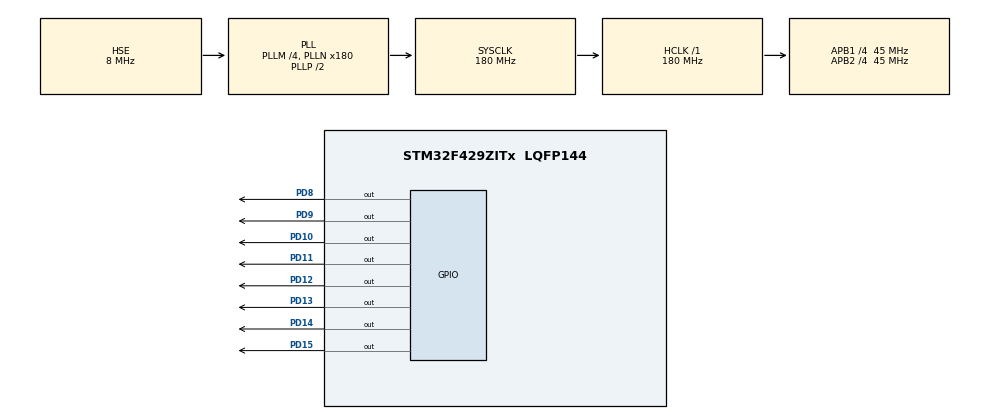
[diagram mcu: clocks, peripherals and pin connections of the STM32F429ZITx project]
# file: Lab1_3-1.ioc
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Mcu.Family=STM32F4
Mcu.Name=STM32F429ZITx
Mcu.Package=LQFP144
NVIC.PriorityGroup=NVIC_PRIORITYGROUP_4
NVIC.TIM6_DAC_IRQn=true\:0\:0\:false\:false\:true\:true\:true\:true
PD10.Signal=GPIO_Output
PD11.Signal=GPIO_Output
PD12.Signal=GPIO_Output
PD13.Signal=GPIO_Output
PD14.Signal=GPIO_Output
PD15.Signal=GPIO_Output
PD8.Signal=GPIO_Output
PD9.Signal=GPIO_Output
PH0/OSC_IN.Mode=HSE-External-Oscillator
PH0/OSC_IN.Signal=RCC_OSC_IN
PH1/OSC_OUT.Mode=HSE-External-Oscillator
PH1/OSC_OUT.Signal=RCC_OSC_OUT
ProjectManager.HeapSize=0x200
ProjectManager.StackSize=0x400
ProjectManager.TargetToolchain=STM32CubeIDE
RCC.48MHZClocksFreq_Value=90000000
RCC.AHBFreq_Value=180000000
RCC.APB1CLKDivider=RCC_HCLK_DIV4
RCC.APB1Freq_Value=45000000
RCC.APB1TimFreq_Value=90000000
RCC.APB2CLKDivider=RCC_HCLK_DIV4
RCC.APB2Freq_Value=45000000
RCC.APB2TimFreq_Value=90000000
RCC.CortexFreq_Value=180000000
RCC.HCLKFreq_Value=180000000
RCC.HSE_VALUE=8000000
RCC.HSI_VALUE=16000000
RCC.LSE_VALUE=32768
RCC.PLLM=4
RCC.PLLN=180
RCC.PLLSourceVirtual=RCC_PLLSOURCE_HSE
RCC.SYSCLKFreq_VALUE=180000000
RCC.SYSCLKSource=RCC_SYSCLKSOURCE_PLLCLK
RCC.VCOOutputFreq_Value=360000000
TIM6.Period=99
TIM6.Prescaler=89
VP_TIM6_VS_ClockSourceINT.Mode=Enable_Timer
board=custom

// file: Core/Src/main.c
/* USER CODE BEGIN Header */
/**
  ******************************************************************************
  * @file           : main.c
  * @brief          : Main program body
  ******************************************************************************
  * @attention
  *
  * Copyright (c) 2026 STMicroelectronics.
  * All rights reserved.
  *
  * This software is licensed under terms that can be found in the LICENSE file
  * in the root directory of this software component.
  * If no LICENSE file comes with this software, it is provided AS-IS.
  *
  ******************************************************************************
  */
/* USER CODE END Header */
#include "main.h"

TIM_HandleTypeDef htim6;

/* USER CODE BEGIN PV */
int TIM6_Count;
unsigned char LED_Value;
int count;
int mode;
/* USER CODE END PV */

void SystemClock_Config(void);
static void MX_GPIO_Init(void);
static void MX_TIM6_Init(void);

/* USER CODE BEGIN 0 */
void DisplayLEDsRunningSpotL(int mode)
{
	if (mode == 1)
	{
		LED_Value = (LED_Value >> 1) | (LED_Value << 7);
	}
	if (LED_Value & 0x80)
		HAL_GPIO_WritePin(GPIOD, GPIO_PIN_15, GPIO_PIN_SET);
	else
		HAL_GPIO_WritePin(GPIOD, GPIO_PIN_15, GPIO_PIN_RESET);
	if (LED_Value & 0x40)
		HAL_GPIO_WritePin(GPIOD, GPIO_PIN_14, GPIO_PIN_SET);
	else
		HAL_GPIO_WritePin(GPIOD, GPIO_PIN_14, GPIO_PIN_RESET);
	if (LED_Value & 0x20)
		HAL_GPIO_WritePin(GPIOD, GPIO_PIN_13, GPIO_PIN_SET);
	else
		HAL_GPIO_WritePin(GPIOD, GPIO_PIN_13, GPIO_PIN_RESET);
	if (LED_Value & 0x10)
		HAL_GPIO_WritePin(GPIOD, GPIO_PIN_12, GPIO_PIN_SET);
	else
		HAL_GPIO_WritePin(GPIOD, GPIO_PIN_12, GPIO_PIN_RESET);
	if (LED_Value & 0x8)
		HAL_GPIO_WritePin(GPIOD, GPIO_PIN_11, GPIO_PIN_SET);
	else
		HAL_GPIO_WritePin(GPIOD, GPIO_PIN_11, GPIO_PIN_RESET);
	if (LED_Value & 0x4)
		HAL_GPIO_WritePin(GPIOD, GPIO_PIN_10, GPIO_PIN_SET);
	else
		HAL_GPIO_WritePin(GPIOD, GPIO_PIN_10, GPIO_PIN_RESET);
	if (LED_Value & 0x2)
		HAL_GPIO_WritePin(GPIOD, GPIO_PIN_9, GPIO_PIN_SET);
	else
		HAL_GPIO_WritePin(GPIOD, GPIO_PIN_9, GPIO_PIN_RESET);
	if (LED_Value & 0x1)
		HAL_GPIO_WritePin(GPIOD, GPIO_PIN_8, GPIO_PIN_SET);
	else
		HAL_GPIO_WritePin(GPIOD, GPIO_PIN_8, GPIO_PIN_RESET);
}

void DisplayLEDsRunningSpotR(int mode)
{
	if (mode == 2)
	{
		LED_Value = (LED_Value << 1) | (LED_Value >> 7);
	}
	if (LED_Value & 0x80)
		HAL_GPIO_WritePin(GPIOD, GPIO_PIN_15, GPIO_PIN_SET);
	else
		HAL_GPIO_WritePin(GPIOD, GPIO_PIN_15, GPIO_PIN_RESET);
	if (LED_Value & 0x40)
		HAL_GPIO_WritePin(GPIOD, GPIO_PIN_14, GPIO_PIN_SET);
	else
		HAL_GPIO_WritePin(GPIOD, GPIO_PIN_14, GPIO_PIN_RESET);
	if (LED_Value & 0x20)
		HAL_GPIO_WritePin(GPIOD, GPIO_PIN_13, GPIO_PIN_SET);
	else
		HAL_GPIO_WritePin(GPIOD, GPIO_PIN_13, GPIO_PIN_RESET);
	if (LED_Value & 0x10)
		HAL_GPIO_WritePin(GPIOD, GPIO_PIN_12, GPIO_PIN_SET);
	else
		HAL_GPIO_WritePin(GPIOD, GPIO_PIN_12, GPIO_PIN_RESET);
	if (LED_Value & 0x8)
		HAL_GPIO_WritePin(GPIOD, GPIO_PIN_11, GPIO_PIN_SET);
	else
		HAL_GPIO_WritePin(GPIOD, GPIO_PIN_11, GPIO_PIN_RESET);
	if (LED_Value & 0x4)
		HAL_GPIO_WritePin(GPIOD, GPIO_PIN_10, GPIO_PIN_SET);
	else
		HAL_GPIO_WritePin(GPIOD, GPIO_PIN_10, GPIO_PIN_RESET);
	if (LED_Value & 0x2)
		HAL_GPIO_WritePin(GPIOD, GPIO_PIN_9, GPIO_PIN_SET);
	else
		HAL_GPIO_WritePin(GPIOD, GPIO_PIN_9, GPIO_PIN_RESET);
	if (LED_Value & 0x1)
		HAL_GPIO_WritePin(GPIOD, GPIO_PIN_8, GPIO_PIN_SET);
	else
		HAL_GPIO_WritePin(GPIOD, GPIO_PIN_8, GPIO_PIN_RESET);
}

void DisplayLEDsFlash(int mode)
{
    if (mode != 3)
    {
    	return;
    }

    if (LED_Value == 1)
    {
    	LED_Value = 0;
        HAL_GPIO_WritePin(GPIOD, GPIO_PIN_15, GPIO_PIN_SET);
        HAL_GPIO_WritePin(GPIOD, GPIO_PIN_14, GPIO_PIN_SET);
        HAL_GPIO_WritePin(GPIOD, GPIO_PIN_13, GPIO_PIN_SET);
        HAL_GPIO_WritePin(GPIOD, GPIO_PIN_12, GPIO_PIN_SET);
        HAL_GPIO_WritePin(GPIOD, GPIO_PIN_11, GPIO_PIN_SET);
        HAL_GPIO_WritePin(GPIOD, GPIO_PIN_10, GPIO_PIN_SET);
        HAL_GPIO_WritePin(GPIOD, GPIO_PIN_9,  GPIO_PIN_SET);
        HAL_GPIO_WritePin(GPIOD, GPIO_PIN_8,  GPIO_PIN_SET);
    }
    else if (LED_Value == 0)
    {
    	LED_Value = 1;
        HAL_GPIO_WritePin(GPIOD, GPIO_PIN_15, GPIO_PIN_RESET);
        HAL_GPIO_WritePin(GPIOD, GPIO_PIN_14, GPIO_PIN_RESET);
        HAL_GPIO_WritePin(GPIOD, GPIO_PIN_13, GPIO_PIN_RESET);
        HAL_GPIO_WritePin(GPIOD, GPIO_PIN_12, GPIO_PIN_RESET);
        HAL_GPIO_WritePin(GPIOD, GPIO_PIN_11, GPIO_PIN_RESET);
        HAL_GPIO_WritePin(GPIOD, GPIO_PIN_10, GPIO_PIN_RESET);
        HAL_GPIO_WritePin(GPIOD, GPIO_PIN_9,  GPIO_PIN_RESET);
        HAL_GPIO_WritePin(GPIOD, GPIO_PIN_8,  GPIO_PIN_RESET);
    }
}

void DisplayLEDsSpotBumber(int mode)
{
	if (mode == 4)
	{
		LED_Value = (LED_Value << 1) | (LED_Value >> 7);
		if (LED_Value & 0x10)
		{
			LED_Value = LED_Value << 1;
		}
		else if (LED_Value & 0x01)
		{
			LED_Value = LED_Value << 1;
		}
	}

	if (LED_Value & 0x01 || LED_Value & 0x80)
	{
		HAL_GPIO_WritePin(GPIOD, GPIO_PIN_15, GPIO_PIN_SET);
		HAL_GPIO_WritePin(GPIOD, GPIO_PIN_8, GPIO_PIN_SET);
	}
	else
	{
        HAL_GPIO_WritePin(GPIOD, GPIO_PIN_15, GPIO_PIN_RESET);
        HAL_GPIO_WritePin(GPIOD, GPIO_PIN_8, GPIO_PIN_RESET);
	}
	if (LED_Value & 0x02 || LED_Value & 0x40)
	{
		HAL_GPIO_WritePin(GPIOD, GPIO_PIN_14, GPIO_PIN_SET);
		HAL_GPIO_WritePin(GPIOD, GPIO_PIN_9, GPIO_PIN_SET);
	}
	else
	{
        HAL_GPIO_WritePin(GPIOD, GPIO_PIN_14, GPIO_PIN_RESET);
        HAL_GPIO_WritePin(GPIOD, GPIO_PIN_9, GPIO_PIN_RESET);
	}
	if (LED_Value & 0x04 || LED_Value & 0x20)
	{
		HAL_GPIO_WritePin(GPIOD, GPIO_PIN_13, GPIO_PIN_SET);
		HAL_GPIO_WritePin(GPIOD, GPIO_PIN_10, GPIO_PIN_SET);
	}
	else
	{
        HAL_GPIO_WritePin(GPIOD, GPIO_PIN_13, GPIO_PIN_RESET);
        HAL_GPIO_WritePin(GPIOD, GPIO_PIN_10, GPIO_PIN_RESET);
	}
	if (LED_Value & 0x08 || LED_Value & 0x10)
	{
		HAL_GPIO_WritePin(GPIOD, GPIO_PIN_12, GPIO_PIN_SET);
		HAL_GPIO_WritePin(GPIOD, GPIO_PIN_11, GPIO_PIN_SET);
	}
	else
	{
        HAL_GPIO_WritePin(GPIOD, GPIO_PIN_12, GPIO_PIN_RESET);
        HAL_GPIO_WritePin(GPIOD, GPIO_PIN_11, GPIO_PIN_RESET);
	}
}

/* Integrate all option into one function */
void DisplayLEDs(int mode)
{
	switch (mode)
	{
		case 1:
			DisplayLEDsRunningSpotL(mode);
			break;
		case 2:
			DisplayLEDsRunningSpotR(mode);
			break;
		case 3:
			DisplayLEDsFlash(mode);
			break;
		case 4:
			DisplayLEDsSpotBumber(mode);
		default:
			break;
	}
}

void Reset()
{
	count = 0;
    HAL_GPIO_WritePin(GPIOD, GPIO_PIN_15, GPIO_PIN_RESET);
    HAL_GPIO_WritePin(GPIOD, GPIO_PIN_14, GPIO_PIN_RESET);
    HAL_GPIO_WritePin(GPIOD, GPIO_PIN_13, GPIO_PIN_RESET);
    HAL_GPIO_WritePin(GPIOD, GPIO_PIN_12, GPIO_PIN_RESET);
    HAL_GPIO_WritePin(GPIOD, GPIO_PIN_11, GPIO_PIN_RESET);
    HAL_GPIO_WritePin(GPIOD, GPIO_PIN_10, GPIO_PIN_RESET);
    HAL_GPIO_WritePin(GPIOD, GPIO_PIN_9,  GPIO_PIN_RESET);
    HAL_GPIO_WritePin(GPIOD, GPIO_PIN_8,  GPIO_PIN_RESET);
    LED_Value = 1;
}
/* USER CODE END 0 */

int main(void)
{

  /* MCU Configuration--------------------------------------------------------*/

  /* Reset of all peripherals, Initializes the Flash interface and the Systick. */
  HAL_Init();

  /* Configure the system clock */
  SystemClock_Config();

  /* Initialize all configured peripherals */
  MX_GPIO_Init();
  MX_TIM6_Init();
  /* USER CODE BEGIN 2 */
  HAL_TIM_Base_Start_IT(&htim6);
  /* USER CODE END 2 */

  /* Infinite loop */
  /* USER CODE BEGIN WHILE */
  LED_Value = 1;
  count = 0;
  mode = 1;

  while (1)
  {
	  HAL_Delay(200);
	  DisplayLEDs(mode);
	  count++;

	  if (count == 16)
	  {
		  Reset();
		  mode++;
	  }
	  if (count == 4 && mode == 3)
	  {
		  Reset();
		  mode++;
	  }
	  if (count == 12 && mode == 4)
	  {
		  Reset();
		  mode = 1;
	  }

    /* USER CODE END WHILE */

  }
}

void SystemClock_Config(void)
{
  RCC_OscInitTypeDef RCC_OscInitStruct = {0};
  RCC_ClkInitTypeDef RCC_ClkInitStruct = {0};

  /** Configure the main internal regulator output voltage
  */
  __HAL_RCC_PWR_CLK_ENABLE();
  __HAL_PWR_VOLTAGESCALING_CONFIG(PWR_REGULATOR_VOLTAGE_SCALE1);

  /** Initializes the RCC Oscillators according to the specified parameters
  * in the RCC_OscInitTypeDef structure.
  */
  RCC_OscInitStruct.OscillatorType = RCC_OSCILLATORTYPE_HSE;
  RCC_OscInitStruct.HSEState = RCC_HSE_ON;
  RCC_OscInitStruct.PLL.PLLState = RCC_PLL_ON;
  RCC_OscInitStruct.PLL.PLLSource = RCC_PLLSOURCE_HSE;
  RCC_OscInitStruct.PLL.PLLM = 4;
  RCC_OscInitStruct.PLL.PLLN = 180;
  RCC_OscInitStruct.PLL.PLLP = RCC_PLLP_DIV2;
  RCC_OscInitStruct.PLL.PLLQ = 4;
  if (HAL_RCC_OscConfig(&RCC_OscInitStruct) != HAL_OK)
  {
    Error_Handler();
  }

  /** Activate the Over-Drive mode
  */
  if (HAL_PWREx_EnableOverDrive() != HAL_OK)
  {
    Error_Handler();
  }

  /** Initializes the CPU, AHB and APB buses clocks
  */
  RCC_ClkInitStruct.ClockType = RCC_CLOCKTYPE_HCLK|RCC_CLOCKTYPE_SYSCLK
                              |RCC_CLOCKTYPE_PCLK1|RCC_CLOCKTYPE_PCLK2;
  RCC_ClkInitStruct.SYSCLKSource = RCC_SYSCLKSOURCE_PLLCLK;
  RCC_ClkInitStruct.AHBCLKDivider = RCC_SYSCLK_DIV1;
  RCC_ClkInitStruct.APB1CLKDivider = RCC_HCLK_DIV4;
  RCC_ClkInitStruct.APB2CLKDivider = RCC_HCLK_DIV4;

  if (HAL_RCC_ClockConfig(&RCC_ClkInitStruct, FLASH_LATENCY_5) != HAL_OK)
  {
    Error_Handler();
  }
}

static void MX_TIM6_Init(void)
{

  TIM_MasterConfigTypeDef sMasterConfig = {0};

  htim6.Instance = TIM6;
  htim6.Init.Prescaler = 89;
  htim6.Init.CounterMode = TIM_COUNTERMODE_UP;
  htim6.Init.Period = 99;
  htim6.Init.AutoReloadPreload = TIM_AUTORELOAD_PRELOAD_DISABLE;
  if (HAL_TIM_Base_Init(&htim6) != HAL_OK)
  {
    Error_Handler();
  }
  sMasterConfig.MasterOutputTrigger = TIM_TRGO_RESET;
  sMasterConfig.MasterSlaveMode = TIM_MASTERSLAVEMODE_DISABLE;
  if (HAL_TIMEx_MasterConfigSynchronization(&htim6, &sMasterConfig) != HAL_OK)
  {
    Error_Handler();
  }

}

static void MX_GPIO_Init(void)
{
  GPIO_InitTypeDef GPIO_InitStruct = {0};

  /* GPIO Ports Clock Enable */
  __HAL_RCC_GPIOH_CLK_ENABLE();
  __HAL_RCC_GPIOD_CLK_ENABLE();

  /*Configure GPIO pin Output Level */
  HAL_GPIO_WritePin(GPIOD, GPIO_PIN_8|GPIO_PIN_9|GPIO_PIN_10|GPIO_PIN_11
                          |GPIO_PIN_12|GPIO_PIN_13|GPIO_PIN_14|GPIO_PIN_15, GPIO_PIN_RESET);

  /*Configure GPIO pins : PD8 PD9 PD10 PD11
                           PD12 PD13 PD14 PD15 */
  GPIO_InitStruct.Pin = GPIO_PIN_8|GPIO_PIN_9|GPIO_PIN_10|GPIO_PIN_11
                          |GPIO_PIN_12|GPIO_PIN_13|GPIO_PIN_14|GPIO_PIN_15;
  GPIO_InitStruct.Mode = GPIO_MODE_OUTPUT_PP;
  GPIO_InitStruct.Pull = GPIO_NOPULL;
  GPIO_InitStruct.Speed = GPIO_SPEED_FREQ_LOW;
  HAL_GPIO_Init(GPIOD, &GPIO_InitStruct);

}

void Error_Handler(void)
{
  __disable_irq();
  while (1)
  {
  }
}
